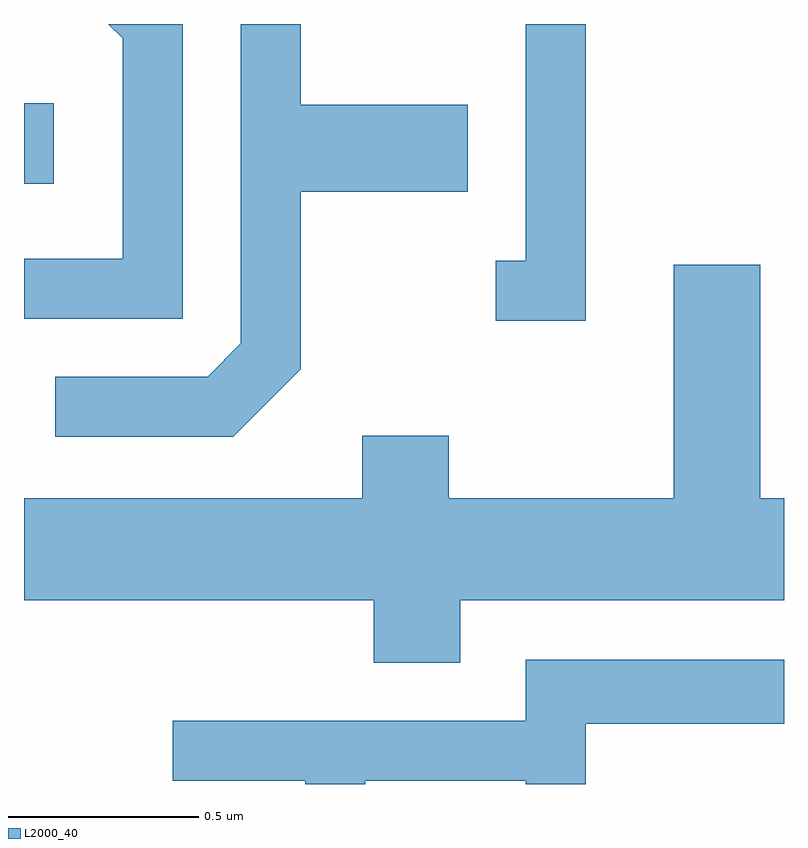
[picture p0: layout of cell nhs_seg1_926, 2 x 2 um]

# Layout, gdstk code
import gdstk
lib = gdstk.Library(unit=1e-6, precision=1e-09)
def R(c, l, rs):  # rectangles x0, y0, x1, y1
    for r in rs: c.add(gdstk.rectangle(r[:2], r[2:], *l))
def P(c, l, *ps):  # polygons
    for p in ps: c.add(gdstk.Polygon(p, *l))
L2000_40 = (2000, 40)

nhs_seg1_926 = lib.new_cell('nhs_seg1_926')
R(nhs_seg1_926, L2000_40, [(191.611,947.291,191.689,947.504)])
P(nhs_seg1_926, L2000_40, [(192.029,947.712),(191.833,947.712),(191.871,947.674),(191.871,947.094),(191.611,947.094),(191.611,946.936),(192.029,946.936)],
  [(192.339,946.804),(192.339,947.271),(192.779,947.271),(192.779,947.499),(192.339,947.499),(192.339,947.712),(192.181,947.712),(192.181,946.872),(192.094,946.784),(191.693,946.784),(191.693,946.626),(192.162,946.626)],
  [(193.089,947.712),(192.931,947.712),(192.931,947.089),(192.853,947.089),(192.853,946.931),(193.089,946.931)],
  [(192.759,946.196),(193.611,946.196),(193.611,946.464),(193.549,946.464),(193.549,947.079),(193.321,947.079),(193.321,946.464),(192.729,946.464),(192.729,946.629),(192.501,946.629),(192.501,946.464),(191.611,946.464),(191.611,946.196),(192.531,946.196),(192.531,946.031),(192.759,946.031)],
  [(192.509,945.721),(192.931,945.721),(192.931,945.712),(193.089,945.712),(193.089,945.871),(193.611,945.871),(193.611,946.039),(192.931,946.039),(192.931,945.879),(192.003,945.879),(192.003,945.721),(192.351,945.721),(192.351,945.712),(192.509,945.712)])

lib.write_gds('nhs_seg1_926.gds')
